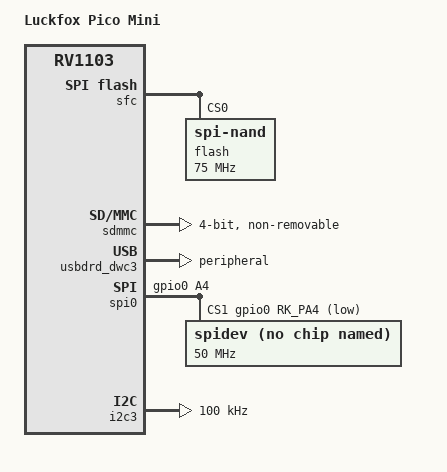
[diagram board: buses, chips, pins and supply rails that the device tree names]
// SPDX-License-Identifier: (GPL-2.0+ OR MIT)
/*
 * Copyright (c) 2023 Luckfox Electronics Co., Ltd.
 */

/dts-v1/;

#include "rv1103.dtsi"
#include "rv1106-evb.dtsi"
#include "rv1103-luckfox-pico-ipc.dtsi"

/ {
	model = "Luckfox Pico Mini";
	compatible = "rockchip,rv1103g-38x38-ipc-v10", "rockchip,rv1103";
};

/**********SFC**********/
&sfc {
	status = "okay";
	flash@0 {
		compatible = "spi-nand";
		reg = <0>;
		spi-max-frequency = <75000000>;
		spi-rx-bus-width = <4>;
		spi-tx-bus-width = <1>;
	};
};

/**********SDMMC**********/
&sdmmc {
	max-frequency = <50000000>;
	no-mmc;
	bus-width = <4>;
	cap-mmc-highspeed;
	cap-sd-highspeed;
	disable-wp;
	
	//sdio
	cap-sdio-irq;
	non-removable;	
	no-1-8-v;
	supports-sdio;

	pinctrl-names = "default";
	pinctrl-0 = <&sdmmc0_clk &sdmmc0_cmd &sdmmc0_det &sdmmc0_bus4>;
	status = "okay";
};

/**********ETH**********/
&gmac {
	status = "disabled";
};

/**********USB**********/
&usbdrd_dwc3 {
	status = "okay";
	dr_mode = "peripheral";
};

/**********SPI**********/
/* SPI0_M0 */
&spi0 {
	status = "okay";
	pinctrl-names = "default";
	pinctrl-0 = <&spi0m0_clk &spi0m0_miso &spi0m0_mosi &spi0m0_cs0 &spi0_cs1_gpio>;
	cs-gpios = <0>, <&gpio0 RK_PA4 GPIO_ACTIVE_LOW>;
	num-cs = <2>;

	spidev@1 {
		compatible = "rockchip,spidev";
		spi-max-frequency = <50000000>;
		reg = <1>;
	};
};

/**********I2C**********/
/* I2C3_M1 */
&i2c3 {
	status = "okay";
	clock-frequency = <100000>;
};

/**********UART**********/
/* UART3_M1 */
&uart3 {
	status = "disabled";
};

/* UART4_M1 */
&uart4 {
	status = "disabled";
};

/**********PWM**********/
/* PWM1_M0 */
&pwm1 {
	status = "disabled";
};

/**********GPIO**********/
&gpio1 {
	pinctrl-names = "default";
	pinctrl-0 = <&gpio1_d1_gpio &gpio1_c4_gpio &gpio1_c5_gpio
		     &gpio1_c6_gpio &gpio1_c7_gpio>;
};

/********** Disable Camera/CSI/ISP - Mini B has no camera **********/
&i2c4 {
	status = "disabled";
};

&csi2_dphy_hw {
	status = "disabled";
};

&csi2_dphy0 {
	status = "disabled";
};

&mipi0_csi2 {
	status = "disabled";
};

&rkcif {
	status = "disabled";
};

&rkcif_mipi_lvds {
	status = "disabled";
};

&rkcif_mipi_lvds_sditf {
	status = "disabled";
};

&rkisp {
	status = "disabled";
};

&rkisp_vir0 {
	status = "disabled";
};

/********** Disable unused multimedia blocks **********/
&npu {
	status = "disabled";
};

&rkvenc {
	status = "disabled";
};

&rkvenc_pp {
	status = "disabled";
};

&rve {
	status = "disabled";
};

&rkdvbm {
	status = "disabled";
};

&rga2 {
	status = "disabled";
};

&gpio4 {
	pinctrl-names = "default";
	pinctrl-0 = <&gpio4_c0_gpio &gpio4_c1_gpio>;
};

&pinctrl {
	spi0-cs1-gpio {
		spi0_cs1_gpio: spi0-cs1-gpio {
			rockchip,pins = <0 RK_PA4 RK_FUNC_GPIO &pcfg_pull_none>;
		};
	};

	luckfox-mini-b-gpio {
		gpio1_d1_gpio: gpio1-d1-gpio {
			rockchip,pins = <1 RK_PD1 RK_FUNC_GPIO &pcfg_pull_none>;
		};

		gpio4_c0_gpio: gpio4-c0-gpio {
			rockchip,pins = <4 RK_PC0 RK_FUNC_GPIO &pcfg_pull_none>;
		};

		gpio4_c1_gpio: gpio4-c1-gpio {
			rockchip,pins = <4 RK_PC1 RK_FUNC_GPIO &pcfg_pull_none>;
		};

		gpio1_c6_gpio: gpio1-c6-gpio {
			rockchip,pins = <1 RK_PC6 RK_FUNC_GPIO &pcfg_pull_none>;
		};

		gpio1_c7_gpio: gpio1-c7-gpio {
			rockchip,pins = <1 RK_PC7 RK_FUNC_GPIO &pcfg_pull_none>;
		};

		gpio1_c5_gpio: gpio1-c5-gpio {
			rockchip,pins = <1 RK_PC5 RK_FUNC_GPIO &pcfg_pull_none>;
		};

		gpio1_c4_gpio: gpio1-c4-gpio {
			rockchip,pins = <1 RK_PC4 RK_FUNC_GPIO &pcfg_pull_none>;
		};
	};
};
